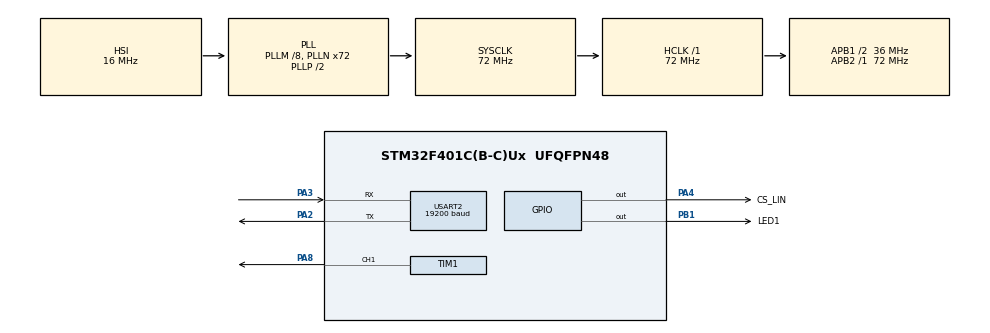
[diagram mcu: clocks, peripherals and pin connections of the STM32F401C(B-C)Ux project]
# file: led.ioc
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Dma.Request0=TIM1_CH1
Dma.TIM1_CH1.0.Direction=DMA_MEMORY_TO_PERIPH
Dma.TIM1_CH1.0.FIFOMode=DMA_FIFOMODE_DISABLE
Dma.TIM1_CH1.0.Instance=DMA2_Stream1
Dma.TIM1_CH1.0.MemDataAlignment=DMA_MDATAALIGN_HALFWORD
Dma.TIM1_CH1.0.MemInc=DMA_MINC_ENABLE
Dma.TIM1_CH1.0.Mode=DMA_NORMAL
Dma.TIM1_CH1.0.PeriphDataAlignment=DMA_PDATAALIGN_HALFWORD
Dma.TIM1_CH1.0.PeriphInc=DMA_PINC_DISABLE
Dma.TIM1_CH1.0.Priority=DMA_PRIORITY_LOW
Mcu.Family=STM32F4
Mcu.Name=STM32F401C(B-C)Ux
Mcu.Package=UFQFPN48
NVIC.DMA2_Stream1_IRQn=true\:0\:0\:false\:false\:true\:false\:true
NVIC.PriorityGroup=NVIC_PRIORITYGROUP_4
PA13.Mode=Trace_Asynchronous_SW
PA13.Signal=SYS_JTMS-SWDIO
PA14.Mode=Trace_Asynchronous_SW
PA14.Signal=SYS_JTCK-SWCLK
PA2.Mode=Asynchronous
PA2.Signal=USART2_TX
PA3.Mode=Asynchronous
PA3.Signal=USART2_RX
PA4.GPIO_Label=CS_LIN
PA4.Signal=GPIO_Output
PA8.Signal=S_TIM1_CH1
PB1.GPIO_Label=LED1
PB1.Signal=GPIO_Output
PB3.Mode=Trace_Asynchronous_SW
PB3.Signal=SYS_JTDO-SWO
PC14-OSC32_IN.Mode=LSE-External-Oscillator
PC14-OSC32_IN.Signal=RCC_OSC32_IN
PC15-OSC32_OUT.Mode=LSE-External-Oscillator
PC15-OSC32_OUT.Signal=RCC_OSC32_OUT
ProjectManager.HeapSize=0x200
ProjectManager.StackSize=0x400
ProjectManager.TargetToolchain=STM32CubeIDE
RCC.48MHZClocksFreq_Value=36000000
RCC.AHBFreq_Value=72000000
RCC.APB1CLKDivider=RCC_HCLK_DIV2
RCC.APB1Freq_Value=36000000
RCC.APB1TimFreq_Value=72000000
RCC.APB2Freq_Value=72000000
RCC.APB2TimFreq_Value=72000000
RCC.CortexFreq_Value=72000000
RCC.HCLKFreq_Value=72000000
RCC.HSE_VALUE=25000000
RCC.HSI_VALUE=16000000
RCC.PLLM=8
RCC.PLLN=72
RCC.SYSCLKFreq_VALUE=72000000
RCC.SYSCLKSource=RCC_SYSCLKSOURCE_PLLCLK
RCC.VCOOutputFreq_Value=144000000
SH.S_TIM1_CH1.0=TIM1_CH1,PWM Generation1 CH1
TIM1.Channel-PWM\ Generation1\ CH1=TIM_CHANNEL_1
TIM1.Period=72-1
USART2.BaudRate=19200
USART2.VirtualMode=VM_ASYNC
VP_TIM1_VS_ClockSourceINT.Mode=Internal
board=custom

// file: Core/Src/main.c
/* USER CODE BEGIN Header */
/**
  ******************************************************************************
  * @file           : main.c
  * @brief          : Main program body
  ******************************************************************************
  * @attention
  *
  * <h2><center>&copy; Copyright (c) 2021 STMicroelectronics.
  * All rights reserved.</center></h2>
  *
  * This software component is licensed by ST under BSD 3-Clause license,
  * the "License"; You may not use this file except in compliance with the
  * License. You may obtain a copy of the License at:
  *                        opensource.org/licenses/BSD-3-Clause
  *
  ******************************************************************************
  */
/* USER CODE END Header */
#include "main.h"

/* USER CODE BEGIN Includes */
#include <stdio.h>
/* USER CODE END Includes */

/* USER CODE BEGIN PD */
#define MAX_LED 11
#define USE_BRIGHTNESS 1
uint8_t datasentflag = 0;

uint8_t LED_Data[MAX_LED][4];
uint8_t LED_Mod[MAX_LED][4];  // for brightness
/* USER CODE END PD */

TIM_HandleTypeDef htim1;
DMA_HandleTypeDef hdma_tim1_ch1;

UART_HandleTypeDef huart2;

void SystemClock_Config(void);
static void MX_GPIO_Init(void);
static void MX_DMA_Init(void);
static void MX_TIM1_Init(void);
static void MX_USART2_UART_Init(void);

/* USER CODE BEGIN 0 */
void Set_LED (int LEDnum, int Red, int Green, int Blue)
{
	LED_Data[LEDnum][0] = LEDnum;
	LED_Data[LEDnum][1] = Green;
	LED_Data[LEDnum][2] = Red;
	LED_Data[LEDnum][3] = Blue;
}

#define PI 3.14159265

void Set_Brightness (int brightness)  // 0-45
{
#if USE_BRIGHTNESS

	if (brightness > 45) brightness = 45;
	for (int i=0; i<MAX_LED; i++)
	{
		LED_Mod[i][0] = LED_Data[i][0];
		for (int j=1; j<4; j++)
		{
			float angle = 90-brightness;  // in degrees
			angle = angle*PI / 180;  // in rad
			LED_Mod[i][j] = (LED_Data[i][j])/(tan(angle));
		}
	}

#endif

}

uint16_t pwmData[(24*MAX_LED)+50];

void WS2812_Send (void)
{
	uint32_t indx=0;
	uint32_t color;

	for (int i= 0; i<MAX_LED; i++)
	{
#if USE_BRIGHTNESS
		color = ((LED_Mod[i][1]<<16) | (LED_Mod[i][2]<<8) | (LED_Mod[i][3]));
#else
		color = ((LED_Data[i][1]<<16) | (LED_Data[i][2]<<8) | (LED_Data[i][3]));
#endif

		for (int i=23; i>=0; i--)
		{
			if (color&(1<<i))
			{
				pwmData[indx] = 60;  // 2/3 of 90
			}

			else pwmData[indx] = 30;  // 1/3 of 90

			indx++;
		}

	}

	for (int i=0; i<50; i++)
	{
		pwmData[indx] = 0;
		indx++;
	}

	HAL_TIM_PWM_Start_DMA(&htim1, TIM_CHANNEL_1, (uint32_t *)pwmData, indx);
	while (!datasentflag){};
	datasentflag = 0;
}

void HAL_TIM_PWM_PulseFinishedCallback(TIM_HandleTypeDef *htim)
{
	HAL_TIM_PWM_Stop_DMA(&htim1, TIM_CHANNEL_1);
	datasentflag=1;
}

int _write(int file, char *ptr, int len)
{
	for(int i = 0; i < len; i++)
	{
		ITM_SendChar(*ptr++);
	}
	return len;
}

/* USER CODE END 0 */

int main(void)
{
  /* USER CODE BEGIN 1 */
	uint8_t *data;

  /* USER CODE END 1 */

  /* MCU Configuration--------------------------------------------------------*/

  /* Reset of all peripherals, Initializes the Flash interface and the Systick. */
  HAL_Init();

  /* Configure the system clock */
  SystemClock_Config();

  /* Initialize all configured peripherals */
  MX_GPIO_Init();
  MX_DMA_Init();
  MX_TIM1_Init();
  MX_USART2_UART_Init();
  /* USER CODE BEGIN 2 */
  Set_LED(0, 255, 0, 0);
  Set_LED(1, 0, 255, 0);
  Set_LED(2, 0, 0, 255);
  Set_LED(3, 46, 89, 128);
  Set_LED(4, 156, 233, 100);
  Set_LED(5, 102, 0, 235);
  Set_LED(6, 47, 38, 77);
  Set_LED(7, 255, 200, 0);
  Set_LED(8, 156, 233, 100);
  Set_LED(9, 102, 0, 235);
  Set_LED(10, 47, 38, 77);

  HAL_GPIO_WritePin(CS_LIN_GPIO_Port, CS_LIN_Pin, 1);

  /* USER CODE END 2 */

  /* Infinite loop */
  /* USER CODE BEGIN WHILE */
  while (1)
  {

	  HAL_GPIO_TogglePin(LED1_GPIO_Port, LED1_Pin);
	  HAL_Delay(1000);

	  printf("swo print");

	  for (int i=0; i<46; i++)
	  {
		  Set_Brightness(i);
		  WS2812_Send();
		  HAL_Delay (50);
	  }

	  HAL_UART_Receive(&huart2, &data, sizeof(data), 10);

    /* USER CODE END WHILE */

  }
}

void SystemClock_Config(void)
{
  RCC_OscInitTypeDef RCC_OscInitStruct = {0};
  RCC_ClkInitTypeDef RCC_ClkInitStruct = {0};

  /** Configure the main internal regulator output voltage
  */
  __HAL_RCC_PWR_CLK_ENABLE();
  __HAL_PWR_VOLTAGESCALING_CONFIG(PWR_REGULATOR_VOLTAGE_SCALE2);
  /** Initializes the RCC Oscillators according to the specified parameters
  * in the RCC_OscInitTypeDef structure.
  */
  RCC_OscInitStruct.OscillatorType = RCC_OSCILLATORTYPE_HSI;
  RCC_OscInitStruct.HSIState = RCC_HSI_ON;
  RCC_OscInitStruct.HSICalibrationValue = RCC_HSICALIBRATION_DEFAULT;
  RCC_OscInitStruct.PLL.PLLState = RCC_PLL_ON;
  RCC_OscInitStruct.PLL.PLLSource = RCC_PLLSOURCE_HSI;
  RCC_OscInitStruct.PLL.PLLM = 8;
  RCC_OscInitStruct.PLL.PLLN = 72;
  RCC_OscInitStruct.PLL.PLLP = RCC_PLLP_DIV2;
  RCC_OscInitStruct.PLL.PLLQ = 4;
  if (HAL_RCC_OscConfig(&RCC_OscInitStruct) != HAL_OK)
  {
    Error_Handler();
  }
  /** Initializes the CPU, AHB and APB buses clocks
  */
  RCC_ClkInitStruct.ClockType = RCC_CLOCKTYPE_HCLK|RCC_CLOCKTYPE_SYSCLK
                              |RCC_CLOCKTYPE_PCLK1|RCC_CLOCKTYPE_PCLK2;
  RCC_ClkInitStruct.SYSCLKSource = RCC_SYSCLKSOURCE_PLLCLK;
  RCC_ClkInitStruct.AHBCLKDivider = RCC_SYSCLK_DIV1;
  RCC_ClkInitStruct.APB1CLKDivider = RCC_HCLK_DIV2;
  RCC_ClkInitStruct.APB2CLKDivider = RCC_HCLK_DIV1;

  if (HAL_RCC_ClockConfig(&RCC_ClkInitStruct, FLASH_LATENCY_2) != HAL_OK)
  {
    Error_Handler();
  }
}

static void MX_TIM1_Init(void)
{

  TIM_ClockConfigTypeDef sClockSourceConfig = {0};
  TIM_MasterConfigTypeDef sMasterConfig = {0};
  TIM_OC_InitTypeDef sConfigOC = {0};
  TIM_BreakDeadTimeConfigTypeDef sBreakDeadTimeConfig = {0};

  htim1.Instance = TIM1;
  htim1.Init.Prescaler = 0;
  htim1.Init.CounterMode = TIM_COUNTERMODE_UP;
  htim1.Init.Period = 72-1;
  htim1.Init.ClockDivision = TIM_CLOCKDIVISION_DIV1;
  htim1.Init.RepetitionCounter = 0;
  htim1.Init.AutoReloadPreload = TIM_AUTORELOAD_PRELOAD_DISABLE;
  if (HAL_TIM_Base_Init(&htim1) != HAL_OK)
  {
    Error_Handler();
  }
  sClockSourceConfig.ClockSource = TIM_CLOCKSOURCE_INTERNAL;
  if (HAL_TIM_ConfigClockSource(&htim1, &sClockSourceConfig) != HAL_OK)
  {
    Error_Handler();
  }
  if (HAL_TIM_PWM_Init(&htim1) != HAL_OK)
  {
    Error_Handler();
  }
  sMasterConfig.MasterOutputTrigger = TIM_TRGO_RESET;
  sMasterConfig.MasterSlaveMode = TIM_MASTERSLAVEMODE_DISABLE;
  if (HAL_TIMEx_MasterConfigSynchronization(&htim1, &sMasterConfig) != HAL_OK)
  {
    Error_Handler();
  }
  sConfigOC.OCMode = TIM_OCMODE_PWM1;
  sConfigOC.Pulse = 0;
  sConfigOC.OCPolarity = TIM_OCPOLARITY_HIGH;
  sConfigOC.OCNPolarity = TIM_OCNPOLARITY_HIGH;
  sConfigOC.OCFastMode = TIM_OCFAST_DISABLE;
  sConfigOC.OCIdleState = TIM_OCIDLESTATE_RESET;
  sConfigOC.OCNIdleState = TIM_OCNIDLESTATE_RESET;
  if (HAL_TIM_PWM_ConfigChannel(&htim1, &sConfigOC, TIM_CHANNEL_1) != HAL_OK)
  {
    Error_Handler();
  }
  sBreakDeadTimeConfig.OffStateRunMode = TIM_OSSR_DISABLE;
  sBreakDeadTimeConfig.OffStateIDLEMode = TIM_OSSI_DISABLE;
  sBreakDeadTimeConfig.LockLevel = TIM_LOCKLEVEL_OFF;
  sBreakDeadTimeConfig.DeadTime = 0;
  sBreakDeadTimeConfig.BreakState = TIM_BREAK_DISABLE;
  sBreakDeadTimeConfig.BreakPolarity = TIM_BREAKPOLARITY_HIGH;
  sBreakDeadTimeConfig.AutomaticOutput = TIM_AUTOMATICOUTPUT_DISABLE;
  if (HAL_TIMEx_ConfigBreakDeadTime(&htim1, &sBreakDeadTimeConfig) != HAL_OK)
  {
    Error_Handler();
  }
  HAL_TIM_MspPostInit(&htim1);

}

static void MX_USART2_UART_Init(void)
{

  huart2.Instance = USART2;
  huart2.Init.BaudRate = 19200;
  huart2.Init.WordLength = UART_WORDLENGTH_8B;
  huart2.Init.StopBits = UART_STOPBITS_1;
  huart2.Init.Parity = UART_PARITY_NONE;
  huart2.Init.Mode = UART_MODE_TX_RX;
  huart2.Init.HwFlowCtl = UART_HWCONTROL_NONE;
  huart2.Init.OverSampling = UART_OVERSAMPLING_16;
  if (HAL_UART_Init(&huart2) != HAL_OK)
  {
    Error_Handler();
  }

}

static void MX_DMA_Init(void)
{

  /* DMA controller clock enable */
  __HAL_RCC_DMA2_CLK_ENABLE();

  /* DMA interrupt init */
  /* DMA2_Stream1_IRQn interrupt configuration */
  HAL_NVIC_SetPriority(DMA2_Stream1_IRQn, 0, 0);
  HAL_NVIC_EnableIRQ(DMA2_Stream1_IRQn);

}

static void MX_GPIO_Init(void)
{
  GPIO_InitTypeDef GPIO_InitStruct = {0};

  /* GPIO Ports Clock Enable */
  __HAL_RCC_GPIOC_CLK_ENABLE();
  __HAL_RCC_GPIOA_CLK_ENABLE();
  __HAL_RCC_GPIOB_CLK_ENABLE();

  /*Configure GPIO pin Output Level */
  HAL_GPIO_WritePin(CS_LIN_GPIO_Port, CS_LIN_Pin, GPIO_PIN_RESET);

  /*Configure GPIO pin Output Level */
  HAL_GPIO_WritePin(LED1_GPIO_Port, LED1_Pin, GPIO_PIN_RESET);

  /*Configure GPIO pin : CS_LIN_Pin */
  GPIO_InitStruct.Pin = CS_LIN_Pin;
  GPIO_InitStruct.Mode = GPIO_MODE_OUTPUT_PP;
  GPIO_InitStruct.Pull = GPIO_NOPULL;
  GPIO_InitStruct.Speed = GPIO_SPEED_FREQ_LOW;
  HAL_GPIO_Init(CS_LIN_GPIO_Port, &GPIO_InitStruct);

  /*Configure GPIO pin : LED1_Pin */
  GPIO_InitStruct.Pin = LED1_Pin;
  GPIO_InitStruct.Mode = GPIO_MODE_OUTPUT_PP;
  GPIO_InitStruct.Pull = GPIO_NOPULL;
  GPIO_InitStruct.Speed = GPIO_SPEED_FREQ_LOW;
  HAL_GPIO_Init(LED1_GPIO_Port, &GPIO_InitStruct);

}

void Error_Handler(void)
{
  __disable_irq();
  while (1)
  {
  }
}

/************************ (C) COPYRIGHT STMicroelectronics *****END OF FILE****/
